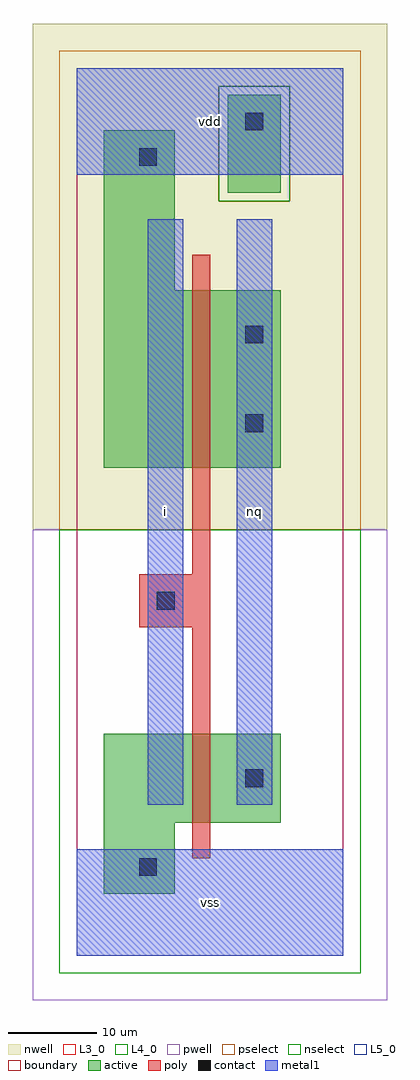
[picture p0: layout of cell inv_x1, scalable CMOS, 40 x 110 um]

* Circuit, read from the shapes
.subckt inv_x1 i nq vdd vss
M1 nq i vss VSUBS nfet w=10u l=2u
M2 nq i vdd vdd pfet w=20u l=2u
.ends

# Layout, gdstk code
import gdstk
lib = gdstk.Library(unit=1e-6, precision=1e-09)
def R(c, l, rs):  # rectangles x0, y0, x1, y1
    for r in rs: c.add(gdstk.rectangle(r[:2], r[2:], *l))
L3_0 = (3, 0)
L4_0 = (4, 0)
L5_0 = (5, 0)
contact = (25, 0)
pwell = (41, 0)
nwell = (42, 0)
active = (43, 0)
pselect = (44, 0)
nselect = (45, 0)
poly = (46, 0)
metal1 = (49, 0)
boundary = (63, 0)

inv_x1 = lib.new_cell('inv_x1')
R(inv_x1, L3_0, [(3,7,11,15), (3,15,23,25)])
R(inv_x1, L4_0, [(3,55,23,75), (3,75,11,93)])
R(inv_x1, L5_0, [(17,86,23,97)])
R(inv_x1, contact, [(7,9,9,11), (19,19,21,21), (9,39,11,41), (19,59,21,61), (19,69,21,71), (7,89,9,91), (19,93,21,95)])
R(inv_x1, pwell, [(-5,-5,35,48)])
R(inv_x1, nwell, [(-5,48,35,105)])
R(inv_x1, active, [(3,7,11,15), (3,15,23,25), (3,55,23,75), (3,75,11,93), (17,86,23,97)])
R(inv_x1, pselect, [(-2,48,32,85), (-2,85,16,98), (24,85,32,98), (-2,98,32,102)])
R(inv_x1, nselect, [(-2,-2,32,48), (16,85,24,98)])
R(inv_x1, poly, [(13,11,15,37), (7,37,15,43), (13,43,15,79)])
R(inv_x1, metal1, [(0,0,30,12), (8,17,12,83), (18,17,22,83), (0,88,30,100)])
R(inv_x1, boundary, [(0,0,30,100)])
inv_x1.add(gdstk.Label('vss', (15,6), layer=49, texttype=0))
inv_x1.add(gdstk.Label('i', (10,50), layer=49, texttype=0))
inv_x1.add(gdstk.Label('vdd', (15,94), layer=49, texttype=0))
inv_x1.add(gdstk.Label('nq', (20,50), layer=49, texttype=0))

lib.write_gds('inv_x1.gds')
